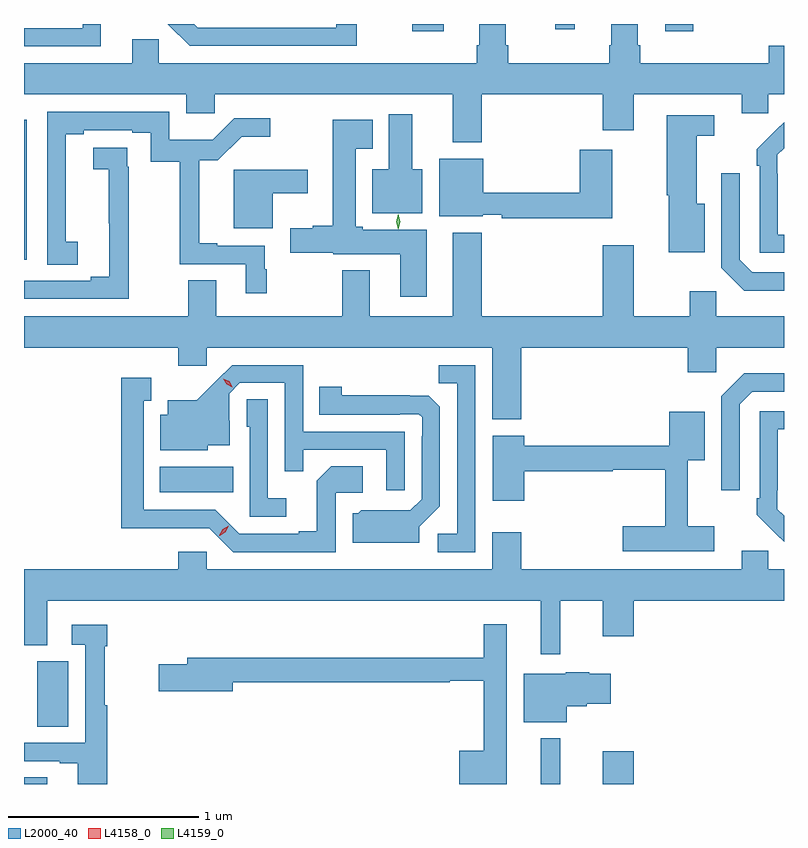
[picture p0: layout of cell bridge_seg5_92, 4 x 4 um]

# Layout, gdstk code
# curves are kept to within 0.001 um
import gdstk
lib = gdstk.Library(unit=1e-6, precision=1e-09)
def R(c, l, rs):  # rectangles x0, y0, x1, y1
    for r in rs: c.add(gdstk.rectangle(r[:2], r[2:], *l))
def P(c, l, *ps):  # polygons
    for p in ps: c.add(gdstk.Polygon(p, *l))
L2000_40 = (2000, 40)
L4158_0 = (4158, 0)
L4159_0 = (4159, 0)

bridge_seg5_92 = lib.new_cell('bridge_seg5_92')
R(bridge_seg5_92, L2000_40, [(114.01,890.427,114.133,890.462), (116.729,890.427,116.833,890.668), (117.056,890.427,117.22,890.599), (114.08,890.728,114.244,891.072), (114.725,891.962,115.112,892.096), (114.01,893.187,114.025,893.923), (116.053,894.39,116.218,894.427), (117.386,894.39,117.532,894.427), (116.806,894.399,116.909,894.427)])
P(bridge_seg5_92, L2000_40, [(116.42,894.056),(117.056,894.056),(117.056,893.868),(117.22,893.868),(117.22,894.056),(117.788,894.056),(117.788,893.958),(117.927,893.958),(117.927,894.056),(118.01,894.056),(118.01,894.313),(117.929,894.313),(117.929,894.22),(117.254,894.22),(117.254,894.316),(117.241,894.316),(117.241,894.427),(117.101,894.427),(117.101,894.316),(117.089,894.316),(117.089,894.22),(116.558,894.22),(116.558,894.316),(116.545,894.316),(116.545,894.427),(116.405,894.427),(116.405,894.316),(116.393,894.316),(116.393,894.22),(114.72,894.22),(114.72,894.347),(114.581,894.347),(114.581,894.22),(114.01,894.22),(114.01,894.056),(114.863,894.056),(114.863,893.958),(115.015,893.958),(115.015,894.056),(116.267,894.056),(116.267,893.804),(116.42,893.804)],
  [(114.415,894.427),(114.318,894.427),(114.318,894.405),(114.01,894.405),(114.01,894.309),(114.415,894.309)],
  [(115.762,894.427),(115.653,894.427),(115.653,894.408),(114.924,894.408),(114.905,894.427),(114.767,894.427),(114.882,894.312),(115.762,894.312)],
  [(115.288,893.135),(115.276,893.135),(115.276,893.259),(115.027,893.259),(115.027,893.272),(114.932,893.272),(114.932,893.709),(115.031,893.709),(115.157,893.834),(115.306,893.834),(115.306,893.931),(115.116,893.931),(115.003,893.818),(114.774,893.818),(114.774,893.964),(114.132,893.964),(114.132,893.161),(114.292,893.161),(114.292,893.281),(114.231,893.281),(114.231,893.585),(114.229,893.585),(114.229,893.848),(114.325,893.848),(114.325,893.868),(114.581,893.868),(114.581,893.854),(114.678,893.854),(114.678,893.701),(114.829,893.701),(114.829,893.163),(115.178,893.163),(115.178,893.01),(115.288,893.01)],
  [(116.107,893.662),(116.053,893.662),(116.053,893.953),(115.931,893.953),(115.931,893.662),(115.844,893.662),(115.844,893.432),(116.107,893.432)],
  [(117.592,893.482),(117.55,893.482),(117.55,893.838),(117.643,893.838),(117.643,893.946),(117.392,893.946),(117.392,893.526),(117.404,893.526),(117.404,893.225),(117.592,893.225)],
  [(116.131,893.344),(115.794,893.344),(115.794,893.361),(115.756,893.361),(115.756,893.771),(115.846,893.771),(115.846,893.923),(115.634,893.923),(115.634,893.366),(115.53,893.366),(115.53,893.353),(115.41,893.353),(115.41,893.224),(115.638,893.224),(115.638,893.216),(115.991,893.216),(115.991,892.992),(116.131,892.992)],
  [(118.01,893.319),(117.978,893.319),(117.978,893.639),(117.975,893.639),(117.975,893.739),(118.01,893.774),(118.01,893.91),(117.973,893.873),(117.972,893.874),(117.867,893.769),(117.867,893.681),(117.882,893.681),(117.882,893.223),(118.01,893.223)],
  [(114.56,893.675),(114.554,893.675),(114.554,893.777),(114.375,893.777),(114.375,893.662),(114.457,893.662),(114.457,893.379),(114.458,893.379),(114.458,893.096),(114.362,893.096),(114.362,893.076),(114.01,893.076),(114.01,892.98),(114.56,892.98)],
  [(117.106,893.764),(116.936,893.764),(116.936,893.54),(116.428,893.54),(116.428,893.719),(116.195,893.719),(116.195,893.414),(116.424,893.414),(116.424,893.424),(116.524,893.424),(116.524,893.404),(117.106,893.404)],
  [(115.318,893.537),(115.504,893.537),(115.504,893.661),(115.115,893.661),(115.115,893.351),(115.318,893.351)],
  [(118.01,893.121),(117.843,893.121),(117.777,893.187),(117.777,893.641),(117.681,893.641),(117.681,893.145),(117.802,893.024),(118.01,893.024)],
  [(116.627,892.724),(117.503,892.724),(117.503,892.593),(117.654,892.593),(117.654,892.724),(118.01,892.724),(118.01,892.888),(117.654,892.888),(117.654,893.02),(117.515,893.02),(117.515,892.888),(117.22,892.888),(117.22,893.263),(117.056,893.263),(117.056,892.888),(116.42,892.888),(116.42,893.329),(116.267,893.329),(116.267,892.888),(115.831,892.888),(115.831,893.131),(115.684,893.131),(115.684,892.888),(115.021,892.888),(115.021,893.078),(114.874,893.078),(114.874,892.888),(114.01,892.888),(114.01,892.724),(114.821,892.724),(114.821,892.629),(114.972,892.629),(114.972,892.724),(116.474,892.724),(116.474,892.346),(116.627,892.346)],
  [(116.013,892.281),(115.479,892.281),(115.479,892.632),(115.106,892.632),(114.919,892.447),(114.767,892.447),(114.767,892.371),(114.728,892.371),(114.728,892.184),(114.978,892.184),(114.978,892.211),(115.093,892.211),(115.093,892.34),(115.089,892.34),(115.089,892.482),(115.146,892.539),(115.383,892.539),(115.383,892.072),(115.481,892.072),(115.481,892.185),(115.917,892.185),(115.917,891.972),(116.013,891.972)],
  [(116.385,892.632),(116.194,892.632),(116.194,892.537),(116.289,892.537),(116.289,891.744),(116.187,891.744),(116.187,891.648),(116.385,891.648)],
  [(117.777,892.425),(117.843,892.491),(118.01,892.491),(118.01,892.588),(117.802,892.588),(117.681,892.467),(117.681,891.972),(117.777,891.972)],
  [(115.65,891.96),(115.792,891.96),(115.792,892.1),(115.627,892.1),(115.551,892.024),(115.551,891.757),(115.457,891.757),(115.457,891.744),(115.143,891.744),(115.017,891.87),(114.64,891.87),(114.64,892.443),(114.679,892.443),(114.679,892.564),(114.522,892.564),(114.522,891.773),(114.984,891.774),(115.11,891.648),(115.65,891.648)],
  [(116.089,891.78),(116.199,891.89),(116.199,892.412),(116.14,892.471),(115.683,892.472),(115.683,892.519),(115.564,892.519),(115.564,892.371),(115.988,892.371),(115.988,892.374),(116.088,892.374),(116.106,892.356),(116.106,892.256),(116.103,892.256),(116.103,891.927),(116.043,891.867),(115.786,891.868),(115.77,891.852),(115.739,891.852),(115.739,891.698),(116.089,891.698)],
  [(115.39,891.931),(115.293,891.931),(115.293,892.451),(115.182,892.451),(115.182,892.308),(115.197,892.308),(115.197,891.834),(115.39,891.834)],
  [(118.01,891.838),(117.975,891.873),(117.975,891.973),(117.978,891.973),(117.978,892.293),(118.01,892.293),(118.01,892.389),(117.882,892.389),(117.882,891.931),(117.867,891.931),(117.867,891.843),(117.972,891.738),(117.973,891.739),(118.01,891.702)],
  [(117.643,891.783),(117.503,891.783),(117.503,892.13),(117.592,892.13),(117.592,892.387),(117.405,892.387),(117.405,892.208),(116.644,892.208),(116.644,892.261),(116.477,892.261),(116.477,891.918),(116.644,891.918),(116.644,892.072),(117.108,892.072),(117.108,892.08),(117.385,892.08),(117.385,891.783),(117.162,891.783),(117.162,891.653),(117.643,891.653)],
  [(116.833,891.392),(117.056,891.392),(117.056,891.204),(117.22,891.204),(117.22,891.392),(118.01,891.392),(118.01,891.556),(117.927,891.556),(117.927,891.654),(117.788,891.654),(117.788,891.556),(116.627,891.556),(116.627,891.751),(116.474,891.751),(116.474,891.556),(114.972,891.556),(114.972,891.649),(114.821,891.649),(114.821,891.556),(114.01,891.556),(114.01,891.157),(114.133,891.157),(114.133,891.392),(116.729,891.392),(116.729,891.111),(116.833,891.111)],
  [(116.551,891.268),(116.43,891.268),(116.43,891.091),(114.869,891.091),(114.869,891.057),(114.72,891.057),(114.72,890.915),(115.108,890.915),(115.108,890.962),(116.251,890.962),(116.251,890.97),(116.43,890.97),(116.43,890.602),(116.3,890.602),(116.3,890.427),(116.551,890.427)],
  [(114.449,890.841),(114.434,890.841),(114.434,891.152),(114.449,891.152),(114.449,891.265),(114.261,891.265),(114.261,891.159),(114.333,891.159),(114.333,890.643),(114.01,890.643),(114.01,890.547),(114.197,890.547),(114.197,890.535),(114.293,890.535),(114.293,890.427),(114.449,890.427)],
  [(116.866,890.837),(116.973,890.837),(116.973,890.849),(117.097,890.849),(117.097,891.007),(116.984,891.007),(116.984,891.015),(116.862,891.015),(116.862,891.007),(116.639,891.007),(116.639,890.753),(116.866,890.753)])
P(bridge_seg5_92, L4158_0, [(115.106,892.516),(115.076,892.532),(115.059,892.561),(115.059,892.561),(115.059,892.561),(115.089,892.546),(115.106,892.517),(115.106,892.516)],
  [(115.038,891.734),(115.038,891.735),(115.056,891.767),(115.088,891.785),(115.088,891.785),(115.088,891.785),(115.07,891.753),(115.039,891.734)])
P(bridge_seg5_92, L4159_0, [(115.979,893.346),(115.979,893.346),(115.97,893.386),(115.979,893.427),(115.979,893.427),(115.98,893.427),(115.99,893.386),(115.98,893.346)])

lib.write_gds('bridge_seg5_92.gds')
